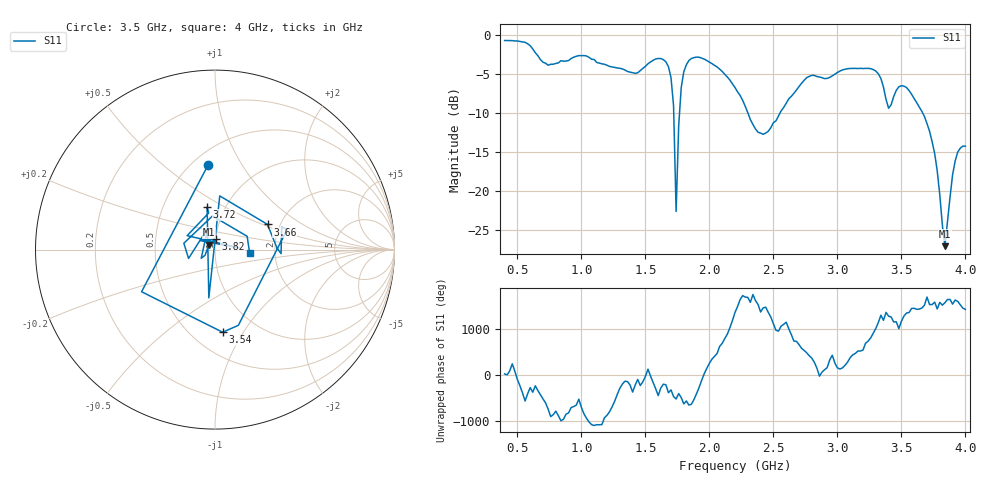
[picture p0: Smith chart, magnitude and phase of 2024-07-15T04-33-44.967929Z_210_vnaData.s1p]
!Created with skrf (http://scikit-rf.org).
# Hz S RI R 50.0
!freq ReS11 ImS11
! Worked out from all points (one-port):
!   181 points, 400 MHz to 4 GHz, reference 50 ohm
!   lowest |S11| = -27.1 dB at 3.84 GHz (marker M1), VSWR 1.09, Z = 46.7 + j2.65 ohm
!   |S11| at or under -10 dB: 1.721 GHz to 1.767 GHz (45.3 MHz wide, 2.6 % of centre); 2.301 GHz to 2.551 GHz (250.2 MHz wide, 10.3 % of centre); 3.667 GHz to end of sweep
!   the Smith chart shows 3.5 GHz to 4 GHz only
!   S11 on the Smith chart (normalised r, x): 3.5 GHz: 0.60, +0.73; 3.54 GHz: 0.70, -0.82; 3.66 GHz: 1.72, +0.54; 3.72 GHz: 0.82, +0.41; 3.82 GHz: 1.00, +0.12; 4 GHz: 1.48, -0.05
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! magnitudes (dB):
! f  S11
! 400 MHz  -0.6
! 740 MHz  -3.8
! 860 MHz  -3.3
! 1.3 GHz  -4.2
! 1.68 GHz  -4.0
! 1.72 GHz  -9.1
! 1.74 GHz  -22.7
! 1.76 GHz  -11.7
! 1.78 GHz  -6.7
! 1.8 GHz  -4.7
! 1.86 GHz  -3.0
! 2.2 GHz  -6.7
! 2.42 GHz  -12.7
! 2.66 GHz  -7.5
! 2.78 GHz  -5.3
! 3.1 GHz  -4.2
! 3.3 GHz  -4.6
! 3.4 GHz  -9.4
! 3.5 GHz  -6.5
! 3.54 GHz  -6.7
! 3.56 GHz  -7.1
! 3.66 GHz  -9.8
! 3.72 GHz  -12.3
! 3.78 GHz  -17.5
! 3.82 GHz  -24.4
! 3.84 GHz  -27.1
! 3.92 GHz  -16.2
! 4 GHz  -14.3
